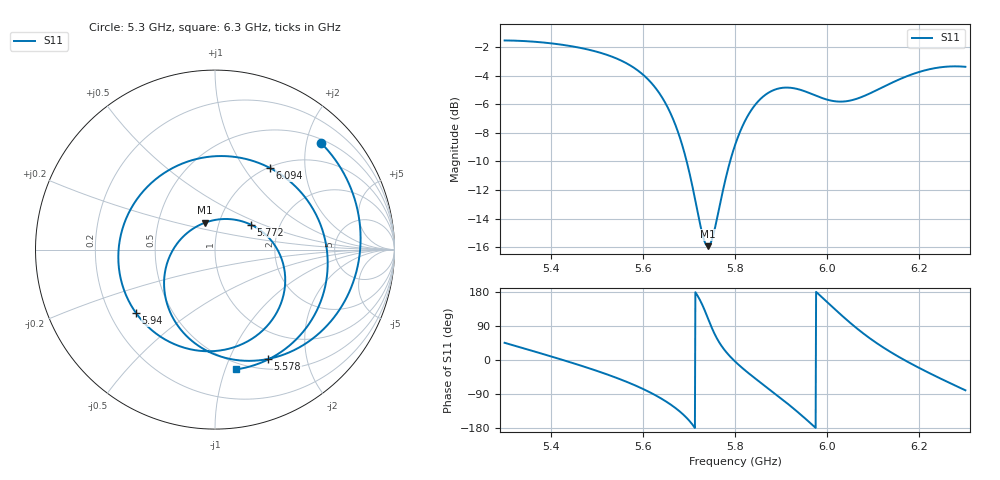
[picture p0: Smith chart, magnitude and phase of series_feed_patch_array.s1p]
! Generated by EMerge - 1-port S-parameters
! File generated: 2026-02-13 00:01
# GHZ S RI R 50
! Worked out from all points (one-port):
!   1001 points, 5.3 GHz to 6.3 GHz, reference 50 ohm
!   lowest |S11| = -15.9 dB at 5.741 GHz (marker M1), VSWR 1.38, Z = 42.8 + j13.1 ohm
!   |S11| at or under -10 dB: 5.695 GHz to 5.789 GHz (94.05 MHz wide, 1.64 % of centre)
!   S11 on the Smith chart (normalised r, x): 5.3 GHz: 0.57, +2.27; 5.578 GHz: 0.62, -1.40; 5.772 GHz: 1.42, +0.42; 5.94 GHz: 0.31, -0.32; 6.094 GHz: 1.02, +1.32; 6.3 GHz: 0.44, -1.09
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5.3  0.5884 0.5965
5.366  0.7685 0.311
5.425  0.8092 0.00789
5.488  0.7088 -0.3111
5.55  0.4561 -0.5523
5.578  0.2942 -0.6096
5.628  -0.0344 -0.5693
5.675  -0.2652 -0.308
5.707  -0.2571 -0.0484
5.729  -0.146 0.0997
5.741  -0.0568 0.1495
5.772  0.1988 0.1395
5.8  0.3596 -0.0234
5.834  0.3673 -0.3004
5.872  0.1417 -0.5308
5.899  -0.104 -0.5615
5.925  -0.3358 -0.4621
5.94  -0.4408 -0.3524
5.965  -0.5341 -0.113
5.989  -0.5098 0.1341
6.021  -0.3247 0.3968
6.05  -0.0725 0.5113
6.094  0.3062 0.4548
6.135  0.5434 0.2307
6.175  0.6275 -0.055
6.229  0.5201 -0.4195
6.266  0.3334 -0.5922
6.3  0.1186 -0.6673
